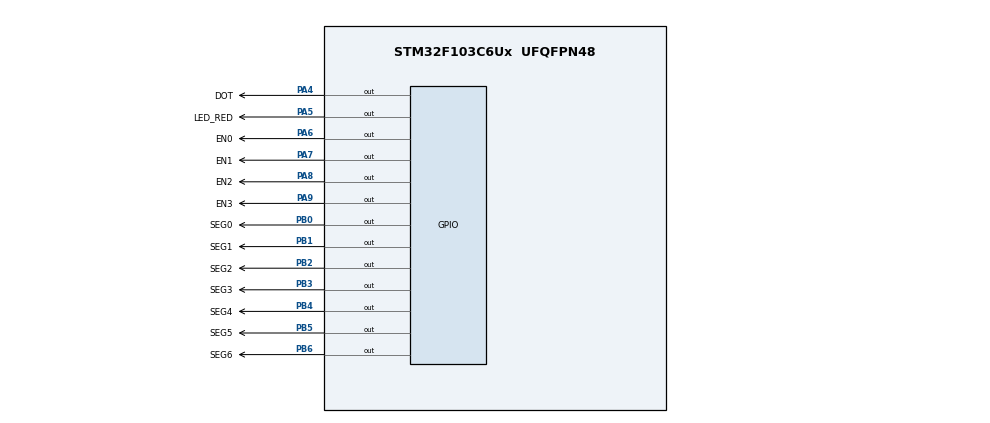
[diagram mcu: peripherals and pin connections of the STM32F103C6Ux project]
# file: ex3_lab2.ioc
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Mcu.Family=STM32F1
Mcu.Name=STM32F103C6Ux
Mcu.Package=UFQFPN48
NVIC.PriorityGroup=NVIC_PRIORITYGROUP_4
NVIC.TIM2_IRQn=true\:0\:0\:false\:false\:true\:true\:true
PA4.GPIO_Label=DOT
PA4.Signal=GPIO_Output
PA5.GPIO_Label=LED_RED
PA5.Signal=GPIO_Output
PA6.GPIO_Label=EN0
PA6.Signal=GPIO_Output
PA7.GPIO_Label=EN1
PA7.Signal=GPIO_Output
PA8.GPIO_Label=EN2
PA8.Signal=GPIO_Output
PA9.GPIO_Label=EN3
PA9.Signal=GPIO_Output
PB0.GPIO_Label=SEG0
PB0.Signal=GPIO_Output
PB1.GPIO_Label=SEG1
PB1.Signal=GPIO_Output
PB2.GPIO_Label=SEG2
PB2.Signal=GPIO_Output
PB3.GPIO_Label=SEG3
PB3.Signal=GPIO_Output
PB4.GPIO_Label=SEG4
PB4.Signal=GPIO_Output
PB5.GPIO_Label=SEG5
PB5.Signal=GPIO_Output
PB6.GPIO_Label=SEG6
PB6.Signal=GPIO_Output
ProjectManager.HeapSize=0x200
ProjectManager.StackSize=0x400
ProjectManager.TargetToolchain=STM32CubeIDE
RCC.APB1Freq_Value=8000000
RCC.APB2Freq_Value=8000000
TIM2.Period=9
TIM2.Prescaler=7999
VP_SYS_VS_ND.Mode=No_Debug
VP_TIM2_VS_ClockSourceINT.Mode=Internal
board=custom

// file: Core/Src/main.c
/* USER CODE BEGIN Header */
/**
  ******************************************************************************
  * @file           : main.c
  * @brief          : Main program body
  ******************************************************************************
  * @attention
  *
  * <h2><center>&copy; Copyright (c) 2022 STMicroelectronics.
  * All rights reserved.</center></h2>
  *
  * This software component is licensed by ST under BSD 3-Clause license,
  * the "License"; You may not use this file except in compliance with the
  * License. You may obtain a copy of the License at:
  *                        opensource.org/licenses/BSD-3-Clause
  *
  ******************************************************************************
  */
/* USER CODE END Header */
#include "main.h"

TIM_HandleTypeDef htim2;

void SystemClock_Config(void);
static void MX_GPIO_Init(void);
static void MX_TIM2_Init(void);

/* USER CODE BEGIN 0 */
void display7SEG(int num){
	// corresponding hexadecimal from 0 to 9, example 0 is 0x3f,...
	uint16_t display[10] = {0x3f, 0x06, 0x5b, 0x4f, 0x66, 0x6d, 0x7D, 0x07, 0x7F, 0x6f};
	uint16_t bit_var = display[num];
	//turn on LED which perform number on LED & SEGMENT
	HAL_GPIO_WritePin(GPIOB, bit_var, RESET);
	//turn off LED which perform number on LED & SEGMENT
	HAL_GPIO_WritePin(GPIOB, ~bit_var, SET);
}
const int MAX_LED = 4;
int index_led = 0;
int led_buffer[4] = {1,2,3,4};
void update7SEG(int index){
	switch(index){
	case 0:
		// Display the first 7 SEG with led_buffer [0]
		HAL_GPIO_WritePin(GPIOA, EN0_Pin, RESET);
		HAL_GPIO_WritePin(GPIOA, EN1_Pin | EN2_Pin | EN3_Pin, SET);
		display7SEG(led_buffer[0]);
		break;
	case 1:
		// Display the second 7 SEG with led_buffer [1]
		HAL_GPIO_WritePin(GPIOA, EN1_Pin, RESET);
		HAL_GPIO_WritePin(GPIOA, EN0_Pin | EN2_Pin | EN3_Pin, SET);
		display7SEG(led_buffer[1]);
		break;
	case 2:
		// Display the third 7 SEG with led_buffer [2]
		HAL_GPIO_WritePin(GPIOA, EN2_Pin, RESET);
		HAL_GPIO_WritePin(GPIOA, EN0_Pin | EN1_Pin | EN3_Pin, SET);
		display7SEG(led_buffer[2]);
		break;
	case 3:
		// Display the forth 7 SEG with led_buffer [3]
		HAL_GPIO_WritePin(GPIOA, EN3_Pin, RESET);
		HAL_GPIO_WritePin(GPIOA, EN0_Pin| EN1_Pin | EN2_Pin , SET);
		display7SEG(led_buffer[3]);
		break;
	default:
		break;
	}
}
int counter = 50;
int counter1 = 100;
void HAL_TIM_PeriodElapsedCallback(TIM_HandleTypeDef* htim)
{
	counter--;
	counter1--;
		if(counter1 <= 0){
			counter1 = 100;
			// each 1s, led red and DOT turn off or turn on in 1s
			HAL_GPIO_TogglePin(GPIOA, DOT_Pin);
			HAL_GPIO_TogglePin(LED_RED_GPIO_Port, LED_RED_Pin);
		}
		if(counter <= 0){
		// each 0.5s, update&SEG function update a new value parameter
		counter = 50;
		update7SEG(index_led++);
		if(index_led > 3) index_led = 0;
		}
}
/* USER CODE END 0 */

int main(void)
{

  /* MCU Configuration--------------------------------------------------------*/

  /* Reset of all peripherals, Initializes the Flash interface and the Systick. */
  HAL_Init();

  /* Configure the system clock */
  SystemClock_Config();

  /* Initialize all configured peripherals */
  MX_GPIO_Init();
  MX_TIM2_Init();
  /* USER CODE BEGIN 2 */
  HAL_TIM_Base_Start_IT(&htim2);
  /* USER CODE END 2 */

  /* Infinite loop */
  while (1)
  {

  }
}

void SystemClock_Config(void)
{
  RCC_OscInitTypeDef RCC_OscInitStruct = {0};
  RCC_ClkInitTypeDef RCC_ClkInitStruct = {0};

  /** Initializes the RCC Oscillators according to the specified parameters
  * in the RCC_OscInitTypeDef structure.
  */
  RCC_OscInitStruct.OscillatorType = RCC_OSCILLATORTYPE_HSI;
  RCC_OscInitStruct.HSIState = RCC_HSI_ON;
  RCC_OscInitStruct.HSICalibrationValue = RCC_HSICALIBRATION_DEFAULT;
  RCC_OscInitStruct.PLL.PLLState = RCC_PLL_NONE;
  if (HAL_RCC_OscConfig(&RCC_OscInitStruct) != HAL_OK)
  {
    Error_Handler();
  }
  /** Initializes the CPU, AHB and APB buses clocks
  */
  RCC_ClkInitStruct.ClockType = RCC_CLOCKTYPE_HCLK|RCC_CLOCKTYPE_SYSCLK
                              |RCC_CLOCKTYPE_PCLK1|RCC_CLOCKTYPE_PCLK2;
  RCC_ClkInitStruct.SYSCLKSource = RCC_SYSCLKSOURCE_HSI;
  RCC_ClkInitStruct.AHBCLKDivider = RCC_SYSCLK_DIV1;
  RCC_ClkInitStruct.APB1CLKDivider = RCC_HCLK_DIV1;
  RCC_ClkInitStruct.APB2CLKDivider = RCC_HCLK_DIV1;

  if (HAL_RCC_ClockConfig(&RCC_ClkInitStruct, FLASH_LATENCY_0) != HAL_OK)
  {
    Error_Handler();
  }
}

static void MX_TIM2_Init(void)
{

  TIM_ClockConfigTypeDef sClockSourceConfig = {0};
  TIM_MasterConfigTypeDef sMasterConfig = {0};

  htim2.Instance = TIM2;
  htim2.Init.Prescaler = 7999;
  htim2.Init.CounterMode = TIM_COUNTERMODE_UP;
  htim2.Init.Period = 9;
  htim2.Init.ClockDivision = TIM_CLOCKDIVISION_DIV1;
  htim2.Init.AutoReloadPreload = TIM_AUTORELOAD_PRELOAD_DISABLE;
  if (HAL_TIM_Base_Init(&htim2) != HAL_OK)
  {
    Error_Handler();
  }
  sClockSourceConfig.ClockSource = TIM_CLOCKSOURCE_INTERNAL;
  if (HAL_TIM_ConfigClockSource(&htim2, &sClockSourceConfig) != HAL_OK)
  {
    Error_Handler();
  }
  sMasterConfig.MasterOutputTrigger = TIM_TRGO_RESET;
  sMasterConfig.MasterSlaveMode = TIM_MASTERSLAVEMODE_DISABLE;
  if (HAL_TIMEx_MasterConfigSynchronization(&htim2, &sMasterConfig) != HAL_OK)
  {
    Error_Handler();
  }

}

static void MX_GPIO_Init(void)
{
  GPIO_InitTypeDef GPIO_InitStruct = {0};

  /* GPIO Ports Clock Enable */
  __HAL_RCC_GPIOA_CLK_ENABLE();
  __HAL_RCC_GPIOB_CLK_ENABLE();

  /*Configure GPIO pin Output Level */
  HAL_GPIO_WritePin(GPIOA, DOT_Pin|LED_RED_Pin|EN0_Pin|EN1_Pin
                          |EN2_Pin|EN3_Pin, GPIO_PIN_RESET);

  /*Configure GPIO pin Output Level */
  HAL_GPIO_WritePin(GPIOB, SEG0_Pin|SEG1_Pin|SEG2_Pin|SEG3_Pin
                          |SEG4_Pin|SEG5_Pin|SEG6_Pin, GPIO_PIN_RESET);

  /*Configure GPIO pins : DOT_Pin LED_RED_Pin EN0_Pin EN1_Pin
                           EN2_Pin EN3_Pin */
  GPIO_InitStruct.Pin = DOT_Pin|LED_RED_Pin|EN0_Pin|EN1_Pin
                          |EN2_Pin|EN3_Pin;
  GPIO_InitStruct.Mode = GPIO_MODE_OUTPUT_PP;
  GPIO_InitStruct.Pull = GPIO_NOPULL;
  GPIO_InitStruct.Speed = GPIO_SPEED_FREQ_LOW;
  HAL_GPIO_Init(GPIOA, &GPIO_InitStruct);

  /*Configure GPIO pins : SEG0_Pin SEG1_Pin SEG2_Pin SEG3_Pin
                           SEG4_Pin SEG5_Pin SEG6_Pin */
  GPIO_InitStruct.Pin = SEG0_Pin|SEG1_Pin|SEG2_Pin|SEG3_Pin
                          |SEG4_Pin|SEG5_Pin|SEG6_Pin;
  GPIO_InitStruct.Mode = GPIO_MODE_OUTPUT_PP;
  GPIO_InitStruct.Pull = GPIO_NOPULL;
  GPIO_InitStruct.Speed = GPIO_SPEED_FREQ_LOW;
  HAL_GPIO_Init(GPIOB, &GPIO_InitStruct);

}

void Error_Handler(void)
{
  __disable_irq();
  while (1)
  {
  }
}

/************************ (C) COPYRIGHT STMicroelectronics *****END OF FILE****/
